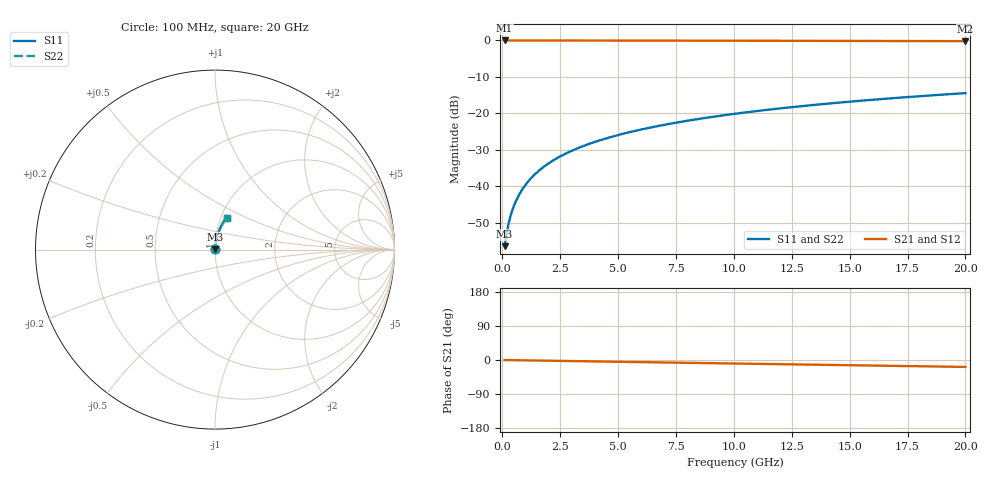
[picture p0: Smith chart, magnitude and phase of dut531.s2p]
! Touchstone file exported from HFSS 2026.1.0
!  File:  C:/ffzhzh/LocalFiles/Ansys_Project_Files/temp_train_TMRDL_531_1783007306_51716.aedt
!  Generated:  11:49:45 PM Jul  2, 2026
!  Design:  TMRDL
!  Project:  temp_train_TMRDL_531_1783007306_51716
! Variables:
!  h_bsmrdl = 2um
!  h_ox = 20um
!  h_rdl = 5um
!  h_sub = 80um
!  h_tmrdl = 5.64um
!  h_tsv = 80um
!  h_via = 3um
!  l_bsmrdl = 300um
!  l_sub = 635.93um
!  l_tmrdl = 235.93um
!  m_sub = 200um
!  pitch = 42.79um
!  r_tsv = 6um
!  s_tmrdl = 10um
!  w_bsmrdl = 18um
!  w_sub = 500um
!  w_tmrdl = 16.08um
!  x_tsv_center1 = 243.97um
!  x_tsv_center2 = 561.97um
!  x_tsv_center3 = 813.98um
!  x_tsv_center4 = 1131.98um
!  x_tsv_center5 = 1383.99um
!  x_tsv_center6 = 1701.99um
# GHz S MA R 50.000000
! Terminal data exported
! Port[1] = TM_RDL1_1_T1
! Port[2] = TM_RDL1_1_T2
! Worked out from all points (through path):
!   200 points, 100 MHz to 20 GHz, reference 50 ohm
!   highest |S21| = -0.01 dB at 100 MHz (marker M1); lowest = -0.2 dB at 20 GHz (marker M2)
!   group delay of S21, straight-line fit = 2.53 ps
!   lowest |S11| = -56.5 dB at 100 MHz (marker M3), VSWR 1.00, Z = 50.1 + j0.109 ohm
!   |S11| at or under -10 dB: start of sweep to end of sweep
!   |S22| runs from -56.5 to -14.5 dB; largest |S21 - S12| = 3.4e-15
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0.1  0.001503 46.4  0.999 -0.1  0.999 -0.1  0.001503 46.4
! Gamma 0 0 0 0
! Port Impedance 50 0 50 0
0.2  0.0024 63.1  0.9989 -0.2  0.9989 -0.2  0.0024 63.1
0.3  0.003365 70.3  0.9989 -0.3  0.9989 -0.3  0.003365 70.3
0.4  0.00435 74.4  0.9988 -0.4  0.9988 -0.4  0.00435 74.4
0.5  0.005348 76.9  0.9988 -0.5  0.9988 -0.5  0.005348 76.9
0.6  0.006354 78.7  0.9988 -0.6  0.9988 -0.6  0.006354 78.7
0.8  0.008379 80.9  0.9987 -0.8  0.9987 -0.8  0.008379 80.9
1.1  0.01143 82.5  0.9986 -1.1  0.9986 -1.1  0.01143 82.5
1.3  0.01347 83.1  0.9986 -1.2  0.9986 -1.2  0.01347 83.1
1.5  0.0155 83.5  0.9985 -1.4  0.9985 -1.4  0.0155 83.5
1.8  0.01855 83.7  0.9983 -1.7  0.9983 -1.7  0.01855 83.7
2.1  0.02158 83.8  0.9982 -2.0  0.9982 -2.0  0.02158 83.8
2.7  0.02761 83.7  0.9978 -2.6  0.9978 -2.6  0.02761 83.7
3.5  0.03557 83.4  0.9973 -3.3  0.9973 -3.3  0.03557 83.4
4.2  0.04246 82.9  0.9968 -4.0  0.9968 -4.0  0.04246 82.9
5  0.05027 82.3  0.9961 -4.7  0.9961 -4.7  0.05027 82.3
6.8  0.06766 81.0  0.9946 -6.4  0.9946 -6.4  0.06766 81.0
8.3  0.08199 79.8  0.9931 -7.7  0.9931 -7.7  0.08199 79.8
10.1  0.09902 78.4  0.9912 -9.4  0.9912 -9.4  0.09902 78.4
13.4  0.1298 75.6  0.9871 -12.4  0.9871 -12.4  0.1298 75.6
16.7  0.1598 72.9  0.9822 -15.3  0.9822 -15.3  0.1598 72.9
20  0.1891 70.1  0.9766 -18.3  0.9766 -18.3  0.1891 70.1
